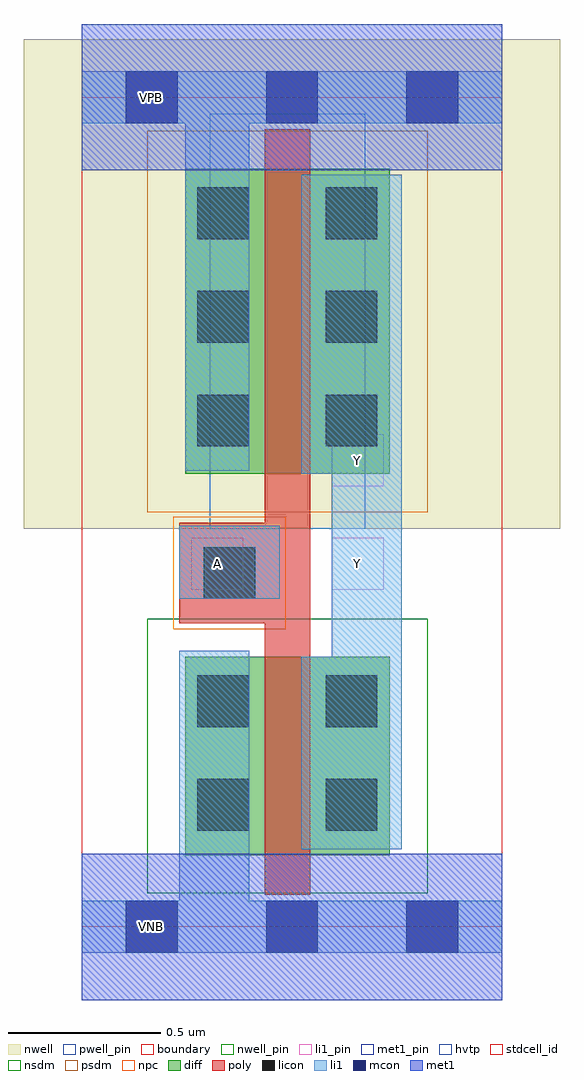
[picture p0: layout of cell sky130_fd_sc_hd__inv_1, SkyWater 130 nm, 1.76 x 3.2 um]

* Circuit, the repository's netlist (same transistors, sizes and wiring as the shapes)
* sky130_fd_sc_hd__inv_1 schematic for external LVS oracle coverage.
.subckt sky130_fd_sc_hd__inv_1 A VGND VNB VPB VPWR Y
X0 VGND A Y VNB sky130_fd_pr__nfet_01v8 w=650000u l=150000u
X1 VPWR A Y VPB sky130_fd_pr__pfet_01v8_hvt w=1e+06u l=150000u
.ends

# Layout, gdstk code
import gdstk
lib = gdstk.Library(unit=1e-6, precision=1e-09)
def R(c, l, rs):  # rectangles x0, y0, x1, y1
    for r in rs: c.add(gdstk.rectangle(r[:2], r[2:], *l))
def A(c, l, x, y, w, h, nx, ny, dx, dy):  # array of equal rectangles
    R(c, l, [(x+i*dx, y+j*dy, x+i*dx+w, y+j*dy+h) for i in range(nx) for j in range(ny)])
nwell_pin = (64, 16)
nwell = (64, 20)
diff = (65, 20)
poly = (66, 20)
licon = (66, 44)
li1_pin = (67, 16)
li1 = (67, 20)
mcon = (67, 44)
met1_pin = (68, 16)
met1 = (68, 20)
hvtp = (78, 44)
stdcell_id = (81, 4)
nsdm = (93, 44)
psdm = (94, 20)
npc = (95, 20)
pwell_pin = (122, 16)
boundary = (235, 4)

sky130_fd_sc_hd__inv_1 = lib.new_cell('sky130_fd_sc_hd__inv_1')
R(sky130_fd_sc_hd__inv_1, nwell_pin, [(0.145,2.635,0.315,2.805)])
R(sky130_fd_sc_hd__inv_1, nwell, [(-0.19,1.305,1.57,2.91)])
R(sky130_fd_sc_hd__inv_1, diff, [(0.34,0.235,1.01,0.885), (0.34,1.485,1.01,2.485)])
R(sky130_fd_sc_hd__inv_1, poly, [(0.6,0.105,0.75,0.995), (0.32,0.995,0.75,1.325), (0.6,1.325,0.75,2.615)])
A(sky130_fd_sc_hd__inv_1, licon, 0.38, 1.575, 0.17, 0.17, 1, 3, 0, 0.34)
A(sky130_fd_sc_hd__inv_1, licon, 0.8, 1.575, 0.17, 0.17, 1, 3, 0, 0.34)
R(sky130_fd_sc_hd__inv_1, licon, [(0.38,0.315,0.55,0.485), (0.8,0.315,0.97,0.485), (0.38,0.655,0.55,0.825), (0.8,0.655,0.97,0.825), (0.4,1.075,0.57,1.245)])
R(sky130_fd_sc_hd__inv_1, li1_pin, [(0.36,1.105,0.53,1.275), (0.82,1.105,0.99,1.275), (0.82,1.445,0.99,1.615)])
R(sky130_fd_sc_hd__inv_1, li1, [(0,-0.085,1.38,0.085), (0.32,0.085,0.55,0.905), (0.72,0.255,1.05,0.885), (0.82,0.885,1.05,1.485), (0.32,1.075,0.65,1.315), (0.72,1.485,1.05,2.465), (0.34,1.495,0.55,2.635), (0,2.635,1.38,2.805)])
A(sky130_fd_sc_hd__inv_1, mcon, 0.145, -0.085, 0.17, 0.17, 3, 2, 0.46, 2.72)
R(sky130_fd_sc_hd__inv_1, met1_pin, [(0.145,-0.085,0.315,0.085), (0.145,2.635,0.315,2.805)])
R(sky130_fd_sc_hd__inv_1, met1, [(0,-0.24,1.38,0.24), (0,2.48,1.38,2.96)])
R(sky130_fd_sc_hd__inv_1, hvtp, [(0.42,1.305,0.93,2.665)])
R(sky130_fd_sc_hd__inv_1, stdcell_id, [(0,0,1.38,2.72)])
R(sky130_fd_sc_hd__inv_1, nsdm, [(0.215,0.11,1.135,1.01)])
R(sky130_fd_sc_hd__inv_1, psdm, [(0.215,1.36,1.135,2.61)])
R(sky130_fd_sc_hd__inv_1, npc, [(0.3,0.975,0.67,1.345)])
R(sky130_fd_sc_hd__inv_1, pwell_pin, [(0.145,-0.085,0.315,0.085)])
R(sky130_fd_sc_hd__inv_1, boundary, [(0,0,1.38,2.72)])
sky130_fd_sc_hd__inv_1.add(gdstk.Label('VPB', (0.23,2.72), layer=64, texttype=5))
sky130_fd_sc_hd__inv_1.add(gdstk.Label('VNB', (0.23,0), layer=64, texttype=59))
sky130_fd_sc_hd__inv_1.add(gdstk.Label('VGND', (0.23,0), layer=68, texttype=5))
sky130_fd_sc_hd__inv_1.add(gdstk.Label('VPWR', (0.23,2.72), layer=68, texttype=5))
sky130_fd_sc_hd__inv_1.add(gdstk.Label('A', (0.445,1.19), layer=67, texttype=5))
sky130_fd_sc_hd__inv_1.add(gdstk.Label('Y', (0.905,1.19), layer=67, texttype=5))
sky130_fd_sc_hd__inv_1.add(gdstk.Label('Y', (0.905,1.53), layer=67, texttype=5))

lib.write_gds('sky130_fd_sc_hd__inv_1.gds')
